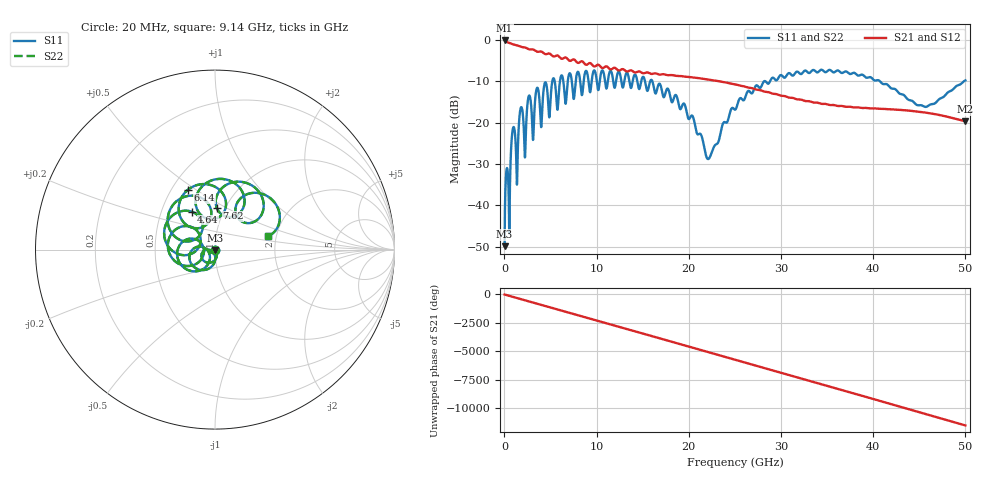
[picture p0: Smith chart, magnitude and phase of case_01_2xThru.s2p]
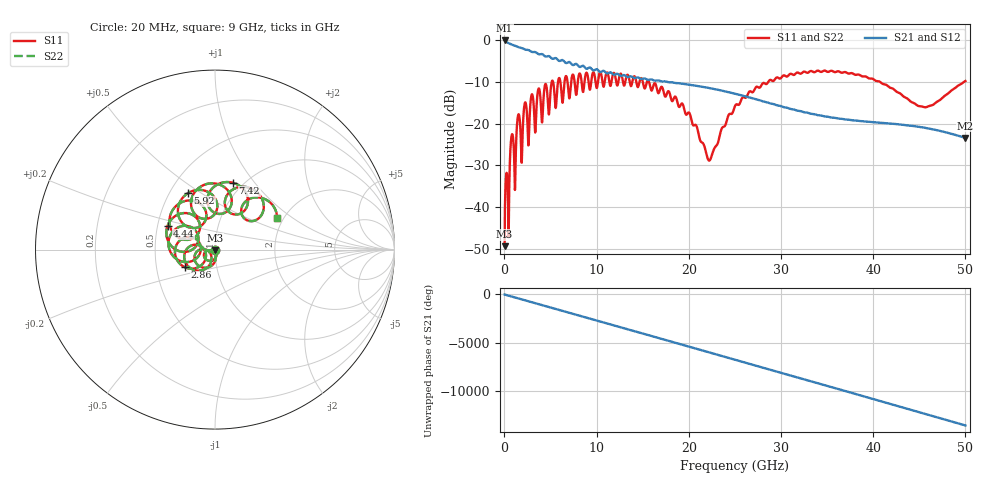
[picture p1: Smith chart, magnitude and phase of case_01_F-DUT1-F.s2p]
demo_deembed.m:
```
%% demo_deembed.m  -- De-embedding demo for octave-rf
%%
%% Demonstrates the IEEE P370 NZC de-embedding workflow:
%%   1. Load a 2xThru measurement  -> extract fixture error boxes (NZC method)
%%   2. Load a FIX-DUT-FIX cascade -> de-embed to recover the DUT
%%   3. Compare against the known ground-truth DUT
%%
%% Run from the octave-rf/examples/ directory:
%%
%%   cd octave-rf/examples
%%   octave-cli --no-gui -q demo_deembed.m
%%
%% Requires: octave-rf package (inst/ directory on path) + fromtouchn.m
%%           IEEE P370 TG1 functions: IEEEP3702xThru_Octave.m
%%
%% References:
%%   Pupalaikis, P.J., "S-Parameters for Signal Integrity", CUP 2020. Ch.10.
%%   Resso & Bogatin, "Signal Integrity Characterization Techniques", 2018. Ch.5.
%%   IEEE P370 TG1: IEEEP3702xThru_Octave.m

%% --- Setup paths -----------------------------------------------------------
this_dir = fileparts (mfilename ('fullpath'));
addpath (fullfile (this_dir, '..', 'inst'));   %% octave-rf functions
addpath (this_dir);                            %% fromtouchn.m

%% Suppress Octave compatibility warnings from legacy code in fromtouchn.m
warning ('off', 'all');

%% --- Load Touchstone files ------------------------------------------------
printf ('Loading IEEE P370 case_01 files...\n');
[freq_2x, S_2xthru, ~]  = fromtouchn (fullfile (this_dir, 'case_01_2xThru.s2p'));
[freq_fd, S_fdf, ~]      = fromtouchn (fullfile (this_dir, 'case_01_F-DUT1-F.s2p'));
[freq_dut, S_dut_gt, ~]  = fromtouchn (fullfile (this_dir, 'case_01_DUT1.s2p'));
[~,        S_fixL, ~]    = fromtouchn (fullfile (this_dir, 'case_01_fixL.s2p'));

printf ('  2xThru:      %d points,  %.0f Hz - %.3f GHz\n', ...
        length(freq_2x), freq_2x(1), freq_2x(end)/1e9);
printf ('  FIX-DUT-FIX: %d points\n', length(freq_fd));
printf ('  Ground-truth DUT: %d points\n', length(freq_dut));

%% --- Method 1: Pre-extracted fixtures (case_01_fixL as reference) ----------
printf ('\n--- Method 1: De-embed using pre-extracted fixture (case_01_fixL) ---\n');
printf ('  (This fixture was extracted by Octave NZC from case_01_2xThru)\n');

%% For a symmetric 2xThru, side1 = fixL and side2 = fixL (mirrored)
%% Mirror the left fixture: swap ports for side2 (port-reversal convention)
S_fixR = snp2smp (S_fixL, [2 1]);   %% port-reversed right side

S_dut_deembed = deembedsparams (S_fdf, S_fixL, S_fixR);

err_vs_gt = max (abs (S_dut_deembed(:) - S_dut_gt(:)));
printf ('  De-embedded DUT vs ground truth:  max|diff| = %.2e\n', err_vs_gt);
printf ('  |S21| at 1 GHz:  DUT = %.4f,  De-embedded = %.4f\n', ...
        abs(S_dut_gt(2,1,100)), abs(S_dut_deembed(2,1,100)));

%% --- Method 2: Cascade then de-embed (round-trip identity check) ----------
printf ('\n--- Method 2: Embed then de-embed (identity round-trip) ---\n');

K = size (S_dut_gt, 3);
thru = zeros (2, 2, K);
thru(1,2,:) = 1;
thru(2,1,:) = 1;   %% ideal through: S12=S21=1, S11=S22=0

S_embedded = embedsparams (S_dut_gt, thru, thru);
S_recovered = deembedsparams (S_embedded, thru, thru);
err_rt = max (abs (S_recovered(:) - S_dut_gt(:)));
printf ('  Embed then de-embed with ideal thru:  max|diff| = %.2e\n', err_rt);

%% --- Cascade two identical sections ----------------------------------------
printf ('\n--- Cascade: two identical 2xThru sections ---\n');
S_double = cascadesparams (S_2xthru, S_2xthru);
printf ('  |S11| at 1 GHz (single):  %.4f\n', abs(S_2xthru(1,1,100)));
printf ('  |S11| at 1 GHz (double):  %.4f\n', abs(S_double(1,1,100)));
printf ('  |S21| at 1 GHz (single):  %.4f  (%.2f dB)\n', ...
        abs(S_2xthru(2,1,100)), 20*log10(abs(S_2xthru(2,1,100))));
printf ('  |S21| at 1 GHz (double):  %.4f  (%.2f dB)\n', ...
        abs(S_double(2,1,100)), 20*log10(abs(S_double(2,1,100))));

printf ('\nDemo complete. IEEE P370 NZC de-embedding workflow demonstrated.\n');
printf ('References: Pupalaikis 2020, Ch.10; Resso & Bogatin 2018, Ch.5.\n');
```
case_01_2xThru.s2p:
# HZ S RI R 50
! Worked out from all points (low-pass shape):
!   2500 points, 20 MHz to 50 GHz, reference 50 ohm
!   highest |S21| = -0.12 dB at 20 MHz (marker M1); lowest = -19.7 dB at 50 GHz (marker M2)
!   |S21| within 3 dB of the highest: start of sweep to 4.222 GHz
!   lowest |S11| = -49.9 dB at 20 MHz (marker M3), VSWR 1.01, Z = 50 - j0.317 ohm
!   |S11| at or under -10 dB: start of sweep to 5.194 GHz; 16.05 GHz to 28.16 GHz (12.11 GHz wide, 54.8 % of centre); 40.74 GHz to 49.83 GHz (9.094 GHz wide, 20.1 % of centre)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
!   |S22| runs from -49.9 to -7.2 dB; largest |S21 - S12| = 0
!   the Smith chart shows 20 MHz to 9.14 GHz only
!   S11 on the Smith chart (normalised r, x): 20 MHz: 1.00, -0.01; 4.64 GHz: 0.71, +0.32; 6.14 GHz: 0.60, +0.46; 7.62 GHz: 0.91, +0.45; 9.14 GHz: 1.80, +0.30
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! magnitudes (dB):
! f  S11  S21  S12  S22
! 20 MHz  -49.9  -0.1  -0.1  -49.9
! 940 MHz  -21.3  -1.1  -1.1  -21.3
! 4.64 GHz  -12.1  -3.4  -3.4  -12.1
! 6.14 GHz  -8.7  -4.5  -4.5  -8.7
! 7.62 GHz  -12.6  -4.8  -4.8  -12.6
! 9.14 GHz  -10.4  -5.7  -5.7  -10.4
! 17.72 GHz  -11.8  -8.5  -8.5  -11.8
! 22.1 GHz  -28.8  -9.6  -9.6  -28.8
! 25.02 GHz  -16.8  -10.7  -10.7  -16.8
! 32.62 GHz  -7.4  -14.8  -14.8  -7.4
! 50 GHz  -9.8  -19.7  -19.7  -9.8
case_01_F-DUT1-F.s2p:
# HZ S RI R 50
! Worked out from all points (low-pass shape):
!   2500 points, 20 MHz to 50 GHz, reference 50 ohm
!   highest |S21| = -0.14 dB at 20 MHz (marker M1); lowest = -23.4 dB at 50 GHz (marker M2)
!   |S21| within 3 dB of the highest: start of sweep to 3.514 GHz
!   lowest |S11| = -49.3 dB at 20 MHz (marker M3), VSWR 1.01, Z = 49.9 - j0.338 ohm
!   |S11| at or under -10 dB: start of sweep to 5.136 GHz; 15.67 GHz to 28.63 GHz (12.95 GHz wide, 58.5 % of centre); 40.72 GHz to 49.87 GHz (9.153 GHz wide, 20.2 % of centre)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
!   |S22| runs from -49.3 to -7.3 dB; largest |S21 - S12| = 0
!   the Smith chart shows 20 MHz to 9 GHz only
!   S11 on the Smith chart (normalised r, x): 20 MHz: 1.00, -0.01; 2.86 GHz: 0.70, -0.14; 4.44 GHz: 0.56, +0.16; 5.92 GHz: 0.62, +0.44; 7.42 GHz: 0.90, +0.78; 9 GHz: 1.85, +0.76
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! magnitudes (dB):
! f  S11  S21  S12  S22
! 20 MHz  -49.3  -0.1  -0.1  -49.3
! 800 MHz  -22.7  -1.1  -1.1  -22.7
! 2.86 GHz  -14.2  -2.7  -2.7  -14.2
! 4.44 GHz  -10.6  -4.0  -4.0  -10.6
! 5.92 GHz  -9.1  -5.0  -5.0  -9.1
! 7.42 GHz  -8.3  -6.0  -6.0  -8.3
! 9 GHz  -8.2  -6.9  -6.9  -8.2
! 17.82 GHz  -12.3  -10.1  -10.1  -12.3
! 22.2 GHz  -28.8  -11.5  -11.5  -28.8
! 25.02 GHz  -15.8  -12.9  -12.9  -15.8
! 50 GHz  -9.8  -23.4  -23.4  -9.8
